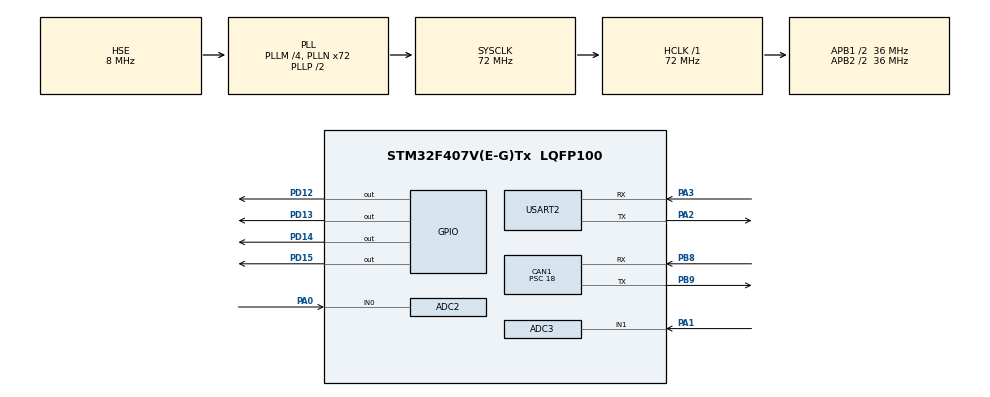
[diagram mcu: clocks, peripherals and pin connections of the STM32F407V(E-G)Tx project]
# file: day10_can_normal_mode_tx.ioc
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ADC1.Channel-0\#ChannelRegularConversion=ADC_CHANNEL_TEMPSENSOR
ADC1.NbrOfConversionFlag=1
ADC1.Rank-0\#ChannelRegularConversion=1
ADC1.SamplingTime-0\#ChannelRegularConversion=ADC_SAMPLETIME_3CYCLES
ADC1.master=1
ADC2.Channel-1\#ChannelRegularConversion=ADC_CHANNEL_0
ADC2.NbrOfConversionFlag=1
ADC2.Rank-1\#ChannelRegularConversion=1
ADC2.SamplingTime-1\#ChannelRegularConversion=ADC_SAMPLETIME_3CYCLES
ADC3.Channel-1\#ChannelRegularConversion=ADC_CHANNEL_1
ADC3.NbrOfConversionFlag=1
ADC3.Rank-1\#ChannelRegularConversion=1
ADC3.SamplingTime-1\#ChannelRegularConversion=ADC_SAMPLETIME_3CYCLES
CAN1.BS1=CAN_BS1_2TQ
CAN1.CalculateBaudRate=500000
CAN1.CalculateTimeBit=2000
CAN1.CalculateTimeQuantum=500.0
CAN1.Mode=CAN_MODE_NORMAL
CAN1.Prescaler=18
Mcu.Family=STM32F4
Mcu.Name=STM32F407V(E-G)Tx
Mcu.Package=LQFP100
NVIC.PriorityGroup=NVIC_PRIORITYGROUP_0
PA0-WKUP.Signal=ADCx_IN0
PA1.Signal=ADCx_IN1
PA2.Mode=Asynchronous
PA2.Signal=USART2_TX
PA3.Mode=Asynchronous
PA3.Signal=USART2_RX
PB8.Mode=CAN_Activate
PB8.Signal=CAN1_RX
PB9.Mode=CAN_Activate
PB9.Signal=CAN1_TX
PD12.Signal=GPIO_Output
PD13.Signal=GPIO_Output
PD14.Signal=GPIO_Output
PD15.Signal=GPIO_Output
PH0-OSC_IN.Mode=HSE-External-Oscillator
PH0-OSC_IN.Signal=RCC_OSC_IN
PH1-OSC_OUT.Mode=HSE-External-Oscillator
PH1-OSC_OUT.Signal=RCC_OSC_OUT
ProjectManager.HeapSize=0x200
ProjectManager.StackSize=0x400
ProjectManager.TargetToolchain=STM32CubeIDE
RCC.48MHZClocksFreq_Value=20571428.57142857
RCC.AHBFreq_Value=72000000
RCC.APB1CLKDivider=RCC_HCLK_DIV2
RCC.APB1Freq_Value=36000000
RCC.APB1TimFreq_Value=72000000
RCC.APB2CLKDivider=RCC_HCLK_DIV2
RCC.APB2Freq_Value=36000000
RCC.APB2TimFreq_Value=72000000
RCC.CortexFreq_Value=72000000
RCC.HCLKFreq_Value=72000000
RCC.HSE_VALUE=8000000
RCC.HSI_VALUE=16000000
RCC.LSE_VALUE=32768
RCC.PLLM=4
RCC.PLLN=72
RCC.PLLQ=7
RCC.PLLSourceVirtual=RCC_PLLSOURCE_HSE
RCC.SYSCLKFreq_VALUE=72000000
RCC.SYSCLKSource=RCC_SYSCLKSOURCE_PLLCLK
RCC.VCOOutputFreq_Value=144000000
SH.ADCx_IN0.0=ADC2_IN0,IN0
SH.ADCx_IN1.0=ADC3_IN1,IN1
USART2.VirtualMode=VM_ASYNC
VP_ADC1_TempSens_Input.Mode=IN-TempSens
board=STM32F407G-DISC1

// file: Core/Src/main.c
/* USER CODE BEGIN Header */
/**
  ******************************************************************************
  * @file           : main.c
  * @brief          : Main program body
  ******************************************************************************
  * @attention
  *
  * Copyright (c) 2024 STMicroelectronics.
  * All rights reserved.
  *
  * This software is licensed under terms that can be found in the LICENSE file
  * in the root directory of this software component.
  * If no LICENSE file comes with this software, it is provided AS-IS.
  *
  ******************************************************************************
  */
/* USER CODE END Header */
#include "main.h"

/* USER CODE BEGIN Includes */
#include <stdio.h>
#include <string.h>
/* USER CODE END Includes */

ADC_HandleTypeDef hadc1;
ADC_HandleTypeDef hadc2;
ADC_HandleTypeDef hadc3;

CAN_HandleTypeDef hcan1;

UART_HandleTypeDef huart2;

void SystemClock_Config(void);
static void MX_GPIO_Init(void);
static void MX_CAN1_Init(void);
static void MX_ADC1_Init(void);
static void MX_USART2_UART_Init(void);
static void MX_ADC2_Init(void);
static void MX_ADC3_Init(void);

/* USER CODE BEGIN 0 */
char uartDataBuffer[50];

uint8_t GetSensorValAndTransfer(ADC_HandleTypeDef *hADC, uint32_t StdId)
{
	uint32_t RawSensorVal = 0;
	uint8_t tempVal, LightIntensityVal,alcoholVal;

	CAN_TxHeaderTypeDef SensorMsgTxHeader;
	SensorMsgTxHeader.DLC = 1;
	SensorMsgTxHeader.RTR = CAN_RTR_DATA;
	SensorMsgTxHeader.IDE = CAN_ID_STD;
	SensorMsgTxHeader.StdId = StdId;
	SensorMsgTxHeader.ExtId = 0x0000;
	SensorMsgTxHeader.TransmitGlobalTime = DISABLE;

	uint8_t SensorData[8] = {0,0,0,0,0,0,0,0};

	uint32_t TxMailBoxUsed;

	HAL_ADC_Start(hADC);
	if(HAL_ADC_PollForConversion(hADC, HAL_MAX_DELAY) == HAL_OK)
	{
		RawSensorVal = 0;
		RawSensorVal = HAL_ADC_GetValue(hADC);
		HAL_ADC_Stop(hADC);

		if(SensorMsgTxHeader.StdId == 0x0AB)
		{
			float Vref = 3.3;
			float Vsense = (RawSensorVal*Vref)/4096;
			tempVal = ((Vsense-0.76)/0.0025) + 25;    // According to STM32 Datasheet
			//sprintf(uartDataBuffer,"tempSensorVal = %d\r\n",tempVal);
			//HAL_UART_Transmit(&huart2, (const uint8_t*)uartDataBuffer, strlen(uartDataBuffer), HAL_MAX_DELAY);

			SensorData[0] = tempVal;
			HAL_GPIO_TogglePin(GPIOD, GPIO_PIN_12);
		}else if(SensorMsgTxHeader.StdId == 0x0AC)
		{
			LightIntensityVal = (RawSensorVal*100)/4095;
			//sprintf(uartDataBuffer,"LightIntensityVal = %d\r\n",LightIntensityVal);
			//HAL_UART_Transmit(&huart2, (const uint8_t*)uartDataBuffer, strlen(uartDataBuffer), HAL_MAX_DELAY);

			SensorData[0] = LightIntensityVal;
			HAL_GPIO_TogglePin(GPIOD, GPIO_PIN_13);
		}else if(SensorMsgTxHeader.StdId == 0x0AD)
		{
			alcoholVal = (RawSensorVal*1000)/4095;
			//sprintf(uartDataBuffer,"alcoholVal = %d\r\n",alcoholVal);
			//HAL_UART_Transmit(&huart2, (const uint8_t*)uartDataBuffer, strlen(uartDataBuffer), HAL_MAX_DELAY);

			SensorData[0] = alcoholVal;
			HAL_GPIO_TogglePin(GPIOD, GPIO_PIN_15);
		}

		// add sensor value in available CAN1 TxMailbox for transmission over CAN Bus
		if(HAL_CAN_AddTxMessage(&hcan1, &SensorMsgTxHeader, SensorData, &TxMailBoxUsed) != HAL_OK)
			Error_Handler();
		HAL_Delay(1000);
	}
	return HAL_OK;
}

/*void HAL_CAN_TxMailbox0CompleteCallback(CAN_HandleTypeDef *hcan)
{
	//sprintf(uartDataBuffer,"%s \r\n","TxMailbox0: Msg transmitted successsfully.");
	strcpy(uartDataBuffer,"TxMailbox0: Msg transmitted successsfully \r\n");
	HAL_UART_Transmit(&huart2, (uint8_t*)uartDataBuffer, strlen(uartDataBuffer), HAL_MAX_DELAY);
}
void HAL_CAN_TxMailbox1CompleteCallback(CAN_HandleTypeDef *hcan)
{
	strcpy(uartDataBuffer,"TxMailbox1: Msg transmitted successsfully \r\n");
	HAL_UART_Transmit(&huart2, (uint8_t*)uartDataBuffer, strlen(uartDataBuffer), HAL_MAX_DELAY);
}
void HAL_CAN_TxMailbox2CompleteCallback(CAN_HandleTypeDef *hcan)
{
	strcpy(uartDataBuffer,"TxMailbox2: Msg transmitted successsfully \r\n");
	HAL_UART_Transmit(&huart2, (uint8_t*)uartDataBuffer, strlen(uartDataBuffer), HAL_MAX_DELAY);
}*/
/* USER CODE END 0 */

int main(void)
{

  /* MCU Configuration--------------------------------------------------------*/

  /* Reset of all peripherals, Initializes the Flash interface and the Systick. */
  HAL_Init();

  /* Configure the system clock */
  SystemClock_Config();

  /* Initialize all configured peripherals */
  MX_GPIO_Init();
  MX_CAN1_Init();
  MX_ADC1_Init();
  MX_USART2_UART_Init();
  MX_ADC2_Init();
  MX_ADC3_Init();
  /* USER CODE BEGIN 2 */
  HAL_CAN_Start(&hcan1);
  HAL_CAN_ActivateNotification(&hcan1, CAN_IT_TX_MAILBOX_EMPTY);

  /* USER CODE END 2 */

  /* Infinite loop */
  /* USER CODE BEGIN WHILE */
  while (1)
  {
	  // ADC1: Internal temp sensor channel
	  if(GetSensorValAndTransfer(&hadc1, 0x0AB) != HAL_OK)
		  Error_Handler();

	  // ADC2 IN0 Channel: LDR Sensor
	  if(GetSensorValAndTransfer(&hadc2, 0x0AC) != HAL_OK)
		  Error_Handler();

	  // ADC3 IN1 Channel: MQ3 Alcohol sensor
	  if(GetSensorValAndTransfer(&hadc3, 0x0AD) != HAL_OK)
		  Error_Handler();

    /* USER CODE END WHILE */

  }
}

void SystemClock_Config(void)
{
  RCC_OscInitTypeDef RCC_OscInitStruct = {0};
  RCC_ClkInitTypeDef RCC_ClkInitStruct = {0};

  /** Configure the main internal regulator output voltage
  */
  __HAL_RCC_PWR_CLK_ENABLE();
  __HAL_PWR_VOLTAGESCALING_CONFIG(PWR_REGULATOR_VOLTAGE_SCALE1);

  /** Initializes the RCC Oscillators according to the specified parameters
  * in the RCC_OscInitTypeDef structure.
  */
  RCC_OscInitStruct.OscillatorType = RCC_OSCILLATORTYPE_HSE;
  RCC_OscInitStruct.HSEState = RCC_HSE_ON;
  RCC_OscInitStruct.PLL.PLLState = RCC_PLL_ON;
  RCC_OscInitStruct.PLL.PLLSource = RCC_PLLSOURCE_HSE;
  RCC_OscInitStruct.PLL.PLLM = 4;
  RCC_OscInitStruct.PLL.PLLN = 72;
  RCC_OscInitStruct.PLL.PLLP = RCC_PLLP_DIV2;
  RCC_OscInitStruct.PLL.PLLQ = 7;
  if (HAL_RCC_OscConfig(&RCC_OscInitStruct) != HAL_OK)
  {
    Error_Handler();
  }

  /** Initializes the CPU, AHB and APB buses clocks
  */
  RCC_ClkInitStruct.ClockType = RCC_CLOCKTYPE_HCLK|RCC_CLOCKTYPE_SYSCLK
                              |RCC_CLOCKTYPE_PCLK1|RCC_CLOCKTYPE_PCLK2;
  RCC_ClkInitStruct.SYSCLKSource = RCC_SYSCLKSOURCE_PLLCLK;
  RCC_ClkInitStruct.AHBCLKDivider = RCC_SYSCLK_DIV1;
  RCC_ClkInitStruct.APB1CLKDivider = RCC_HCLK_DIV2;
  RCC_ClkInitStruct.APB2CLKDivider = RCC_HCLK_DIV2;

  if (HAL_RCC_ClockConfig(&RCC_ClkInitStruct, FLASH_LATENCY_2) != HAL_OK)
  {
    Error_Handler();
  }
}

static void MX_ADC1_Init(void)
{

  ADC_ChannelConfTypeDef sConfig = {0};

  /** Configure the global features of the ADC (Clock, Resolution, Data Alignment and number of conversion)
  */
  hadc1.Instance = ADC1;
  hadc1.Init.ClockPrescaler = ADC_CLOCK_SYNC_PCLK_DIV2;
  hadc1.Init.Resolution = ADC_RESOLUTION_12B;
  hadc1.Init.ScanConvMode = DISABLE;
  hadc1.Init.ContinuousConvMode = DISABLE;
  hadc1.Init.DiscontinuousConvMode = DISABLE;
  hadc1.Init.ExternalTrigConvEdge = ADC_EXTERNALTRIGCONVEDGE_NONE;
  hadc1.Init.ExternalTrigConv = ADC_SOFTWARE_START;
  hadc1.Init.DataAlign = ADC_DATAALIGN_RIGHT;
  hadc1.Init.NbrOfConversion = 1;
  hadc1.Init.DMAContinuousRequests = DISABLE;
  hadc1.Init.EOCSelection = ADC_EOC_SINGLE_CONV;
  if (HAL_ADC_Init(&hadc1) != HAL_OK)
  {
    Error_Handler();
  }

  /** Configure for the selected ADC regular channel its corresponding rank in the sequencer and its sample time.
  */
  sConfig.Channel = ADC_CHANNEL_TEMPSENSOR;
  sConfig.Rank = 1;
  sConfig.SamplingTime = ADC_SAMPLETIME_3CYCLES;
  if (HAL_ADC_ConfigChannel(&hadc1, &sConfig) != HAL_OK)
  {
    Error_Handler();
  }

}

static void MX_ADC2_Init(void)
{

  ADC_ChannelConfTypeDef sConfig = {0};

  /** Configure the global features of the ADC (Clock, Resolution, Data Alignment and number of conversion)
  */
  hadc2.Instance = ADC2;
  hadc2.Init.ClockPrescaler = ADC_CLOCK_SYNC_PCLK_DIV2;
  hadc2.Init.Resolution = ADC_RESOLUTION_12B;
  hadc2.Init.ScanConvMode = DISABLE;
  hadc2.Init.ContinuousConvMode = DISABLE;
  hadc2.Init.DiscontinuousConvMode = DISABLE;
  hadc2.Init.ExternalTrigConvEdge = ADC_EXTERNALTRIGCONVEDGE_NONE;
  hadc2.Init.ExternalTrigConv = ADC_SOFTWARE_START;
  hadc2.Init.DataAlign = ADC_DATAALIGN_RIGHT;
  hadc2.Init.NbrOfConversion = 1;
  hadc2.Init.DMAContinuousRequests = DISABLE;
  hadc2.Init.EOCSelection = ADC_EOC_SINGLE_CONV;
  if (HAL_ADC_Init(&hadc2) != HAL_OK)
  {
    Error_Handler();
  }

  /** Configure for the selected ADC regular channel its corresponding rank in the sequencer and its sample time.
  */
  sConfig.Channel = ADC_CHANNEL_0;
  sConfig.Rank = 1;
  sConfig.SamplingTime = ADC_SAMPLETIME_3CYCLES;
  if (HAL_ADC_ConfigChannel(&hadc2, &sConfig) != HAL_OK)
  {
    Error_Handler();
  }

}

static void MX_ADC3_Init(void)
{

  ADC_ChannelConfTypeDef sConfig = {0};

  /** Configure the global features of the ADC (Clock, Resolution, Data Alignment and number of conversion)
  */
  hadc3.Instance = ADC3;
  hadc3.Init.ClockPrescaler = ADC_CLOCK_SYNC_PCLK_DIV2;
  hadc3.Init.Resolution = ADC_RESOLUTION_12B;
  hadc3.Init.ScanConvMode = DISABLE;
  hadc3.Init.ContinuousConvMode = DISABLE;
  hadc3.Init.DiscontinuousConvMode = DISABLE;
  hadc3.Init.ExternalTrigConvEdge = ADC_EXTERNALTRIGCONVEDGE_NONE;
  hadc3.Init.ExternalTrigConv = ADC_SOFTWARE_START;
  hadc3.Init.DataAlign = ADC_DATAALIGN_RIGHT;
  hadc3.Init.NbrOfConversion = 1;
  hadc3.Init.DMAContinuousRequests = DISABLE;
  hadc3.Init.EOCSelection = ADC_EOC_SINGLE_CONV;
  if (HAL_ADC_Init(&hadc3) != HAL_OK)
  {
    Error_Handler();
  }

  /** Configure for the selected ADC regular channel its corresponding rank in the sequencer and its sample time.
  */
  sConfig.Channel = ADC_CHANNEL_1;
  sConfig.Rank = 1;
  sConfig.SamplingTime = ADC_SAMPLETIME_3CYCLES;
  if (HAL_ADC_ConfigChannel(&hadc3, &sConfig) != HAL_OK)
  {
    Error_Handler();
  }

}

static void MX_CAN1_Init(void)
{

  hcan1.Instance = CAN1;
  hcan1.Init.Prescaler = 18;
  hcan1.Init.Mode = CAN_MODE_NORMAL;
  hcan1.Init.SyncJumpWidth = CAN_SJW_1TQ;
  hcan1.Init.TimeSeg1 = CAN_BS1_2TQ;
  hcan1.Init.TimeSeg2 = CAN_BS2_1TQ;
  hcan1.Init.TimeTriggeredMode = DISABLE;
  hcan1.Init.AutoBusOff = DISABLE;
  hcan1.Init.AutoWakeUp = DISABLE;
  hcan1.Init.AutoRetransmission = DISABLE;
  hcan1.Init.ReceiveFifoLocked = DISABLE;
  hcan1.Init.TransmitFifoPriority = DISABLE;
  if (HAL_CAN_Init(&hcan1) != HAL_OK)
  {
    Error_Handler();
  }

}

static void MX_USART2_UART_Init(void)
{

  huart2.Instance = USART2;
  huart2.Init.BaudRate = 115200;
  huart2.Init.WordLength = UART_WORDLENGTH_8B;
  huart2.Init.StopBits = UART_STOPBITS_1;
  huart2.Init.Parity = UART_PARITY_NONE;
  huart2.Init.Mode = UART_MODE_TX_RX;
  huart2.Init.HwFlowCtl = UART_HWCONTROL_NONE;
  huart2.Init.OverSampling = UART_OVERSAMPLING_16;
  if (HAL_UART_Init(&huart2) != HAL_OK)
  {
    Error_Handler();
  }

}

static void MX_GPIO_Init(void)
{
  GPIO_InitTypeDef GPIO_InitStruct = {0};

  /* GPIO Ports Clock Enable */
  __HAL_RCC_GPIOH_CLK_ENABLE();
  __HAL_RCC_GPIOA_CLK_ENABLE();
  __HAL_RCC_GPIOD_CLK_ENABLE();
  __HAL_RCC_GPIOB_CLK_ENABLE();

  /*Configure GPIO pin Output Level */
  HAL_GPIO_WritePin(GPIOD, GPIO_PIN_12|GPIO_PIN_13|GPIO_PIN_14|GPIO_PIN_15, GPIO_PIN_RESET);

  /*Configure GPIO pins : PD12 PD13 PD14 PD15 */
  GPIO_InitStruct.Pin = GPIO_PIN_12|GPIO_PIN_13|GPIO_PIN_14|GPIO_PIN_15;
  GPIO_InitStruct.Mode = GPIO_MODE_OUTPUT_PP;
  GPIO_InitStruct.Pull = GPIO_NOPULL;
  GPIO_InitStruct.Speed = GPIO_SPEED_FREQ_LOW;
  HAL_GPIO_Init(GPIOD, &GPIO_InitStruct);

}

void Error_Handler(void)
{
  /* USER CODE BEGIN Error_Handler_Debug */
  /* User can add his own implementation to report the HAL error return state */
  __disable_irq();
  while (1)
  {
	  HAL_GPIO_TogglePin(GPIOD, GPIO_PIN_14);
	  HAL_Delay(200);
  }
  /* USER CODE END Error_Handler_Debug */
}
